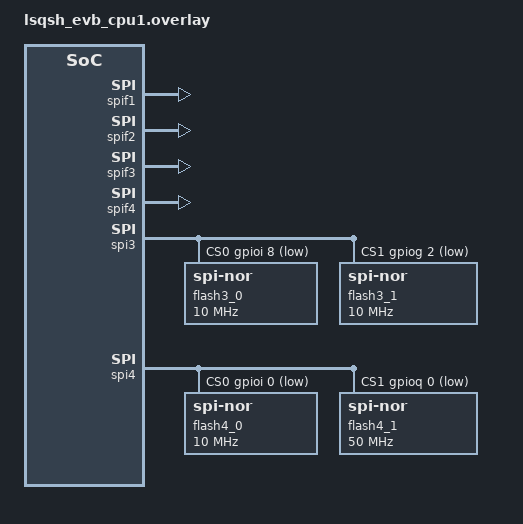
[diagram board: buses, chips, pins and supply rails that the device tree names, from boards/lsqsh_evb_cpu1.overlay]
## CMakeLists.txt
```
# SPDX-License-Identifier: Apache-2.0

cmake_minimum_required(VERSION 3.20.0)

find_package(Zephyr REQUIRED HINTS $ENV{ZEPHYR_BASE})
project(spi_filter_n_out_m_in)

FILE(GLOB app_sources src/*.c)
target_sources(app PRIVATE ${app_sources})
```

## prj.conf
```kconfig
CONFIG_SPI_FILTER_LINKEDSEMI=y
CONFIG_SPI=y
CONFIG_FLASH=y
# CONFIG_LOG_MODE_IMMEDIATE=y
CONFIG_SHELL=n
CONFIG_FLASH_SHELL=y
CONFIG_DMA=y

CONFIG_LOG=y
CONFIG_LOG_BUFFER_SIZE=65536
CONFIG_SHELL_BACKEND_SERIAL_LOG_MESSAGE_QUEUE_SIZE=40960
# CONFIG_LOG=n
# CONFIG_LOG_BUFFER_SIZE=1024
# CONFIG_SHELL_BACKEND_SERIAL_LOG_MESSAGE_QUEUE_SIZE=1024

# CONFIG_LOG_MODE_DEFERRED=n
# CONFIG_LOG_MODE_IMMEDIATE=y

CONFIG_FLASH_JESD216_API=y
CONFIG_SPI_EXTENDED_MODES=y

CONFIG_MAIN_STACK_SIZE=10240

CONFIG_IDLE_STACK_SIZE=512
CONFIG_TEST_EXTRA_STACK_SIZE=1536
CONFIG_SYSTEM_WORKQUEUE_STACK_SIZE=8192
CONFIG_ISR_STACK_SIZE=4096
CONFIG_PRIVILEGED_STACK_SIZE=4096
CONFIG_SHELL_STACK_SIZE=4096
CONFIG_LOG_PROCESS_THREAD_STACK_SIZE=4096

CONFIG_SPI_FILTER_INTERRUPT_LOG=n#dma log打开就不用开中断打开log
CONFIG_SPI_FILTER_DMA_LOG=y

CONFIG_BUILD_OUTPUT_HEX=y#hex

CONFIG_LOG_MODE_DEFERRED=n
CONFIG_LOG_MODE_IMMEDIATE=y
CONFIG_SPI_FILTER_LINKEDSEMI_SHELL=n
# CONFIG_LINKEDSEMI_ZEPHYR_UTIL_CMD_REBOOT=y
```

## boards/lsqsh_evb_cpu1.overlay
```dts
#include "lsqsh_pinctrl_pfr_tpm.dtsi"

/ {
    aliases {
#if 1
        spifilter = &spif3;
        spifiltermaster = &spif1;
        spiflash = &flash3_0;
#endif
#if 0
        spifilter = &spif2;
        spifiltermaster = &spif4;
        spiflash = &flash4_1;
#endif
    };
};

&spif1 {
    status = "okay";
};

&spif2 {
    status = "okay";
};

&spif3 {
    cmd-page-program-quad-addr-quad-data =<0xc2>;
    cmd-quad-spi-mode-enter = <0x38>;
    cmd-quad-spi-mode-exit = <0xff>;
    status = "okay";
};

&spif4 {
    cmd-page-program-quad-addr-quad-data =<0xc2>;
    cmd-quad-spi-mode-enter = <0x38>;
    cmd-quad-spi-mode-exit = <0xff>;
    status = "okay";
};

&spi3 {
    cs-gpios = <&gpioi 8 GPIO_ACTIVE_LOW>,
                <&gpiog 2 GPIO_ACTIVE_LOW>;
    pinctrl-0 = <>;
    pinctrl-names = "default";
    //timing-calibration-disabled;
    dmas =<&dmac2 6 DMA_SPI3_RX>,<&dmac2 6 DMA_SPI3_TX>;
    dma-names ="rx","tx";
    status = "okay";

    flash3_0: flash3@0 {
        compatible = "jedec,spi-nor";
        reg = <0>;
        spi-max-frequency = <DT_FREQ_M(10)>;
        spi-max-buswidth = <4>;
        re-init-support;
    };
    flash3_1: flash3@1 {
        compatible = "jedec,spi-nor";
        reg = <1>;
        spi-max-frequency = <DT_FREQ_M(10)>;
        spi-max-buswidth = <4>;
        re-init-support;
    };
};

&spi4 {
    cs-gpios = <&gpioi 0 GPIO_ACTIVE_LOW>,
                <&gpioq 0 GPIO_ACTIVE_LOW>;
    pinctrl-0 = <>;
    pinctrl-names = "default";
    timing-calibration-disabled;
    dmas =<&dmac2 6 DMA_SPI4_RX>,<&dmac2 6 DMA_SPI4_TX>;
    dma-names ="rx","tx";
    status = "okay";

    flash4_0: flash4@0 {
        compatible = "jedec,spi-nor";
        reg = <0>;
        spi-max-frequency = <DT_FREQ_M(10)>;
        spi-max-buswidth = <4>;
        re-init-support;
    };
    flash4_1: flash4@1 {
        compatible = "jedec,spi-nor";
        reg = <1>;
        spi-max-frequency = <DT_FREQ_M(50)>;
        spi-max-buswidth = <4>;
        re-init-support;
    };
};

&dmac1 {
    status = "okay";
};

&dmac2 {
    status = "okay";
};

#if 0
#undef SRAM_TOTAL_SIZE
#undef SRAM_RO_SIZE
#undef SRAM_RW_SIZE

#define SRAM_TOTAL_SIZE DT_SIZE_K(512 - 128)
#define SRAM_RO_SIZE    DT_SIZE_K(256 - 128)
#define SRAM_RW_SIZE    (SRAM_TOTAL_SIZE - SRAM_RO_SIZE)

&sram_ro {
    reg = <0x10020000 SRAM_RO_SIZE>;
};

&sram {
    reg = <(0x10020000 + SRAM_RO_SIZE) SRAM_RW_SIZE>;
};
#endif
```

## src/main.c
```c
/*
 * Copyright (c) 2024 Linkedsemi
 *
 * SPDX-License-Identifier: Apache-2.0
 */

#include "zephyr/sys/printk.h"
#include "zephyr/sys/util.h"
#include "zephyr/types.h"
#include <stdbool.h>
#include <stdint.h>
#if !defined(CONFIG_SPI_FILTER_LINKEDSEMI)
    #error no CONFIG_SPI_FILTER_LINKEDSEMI define
#endif

#include <zephyr/drivers/spi.h>
#include <zephyr/drivers/spi_nor.h>
#include <zephyr/kernel.h>
#include <stdlib.h>
#include <stdio.h>
#include <zephyr/kernel.h>
#include <zephyr/drivers/spi.h>
#include <zephyr/drivers/flash.h>
#include <reg_spi_filter.h>
#include <spi_filter.h>
#include <ls_soc_gpio.h>
#include <zephyr/logging/log.h>
#include <time.h>

// LOG_MODULE_REGISTER(spi_monitor_01_003_005, LOG_LEVEL_INF);
LOG_MODULE_REGISTER(spi_monitor_01_003_005, LOG_LEVEL_DBG);
extern int spi_nor_config_4byte_mode(const struct device *dev, bool en4b);

#if 0
#include "/home/htliu/zephyr_work/modules/lib/pfr_tpm/drivers/pfr/spi/spi_filter.h"
#else
#define SPIF_LOG_RAM_MAX_SIZE_U32     1024
#endif

#define FLASH_OFFSET MB(0)
#define FLASH_ERASE_SIZE 4096
#define FLASH_TEST_SIZE 4096

#define FLASH_OFFSET_MAIN 0x1000
#define FLASH_ERASE_SIZE_4K 0X1000
#define FLASH_ERASE_SIZE_MAIN 0x4000//16K 0X1000//4k
// #define start_addr_main  0x4000
#define START_ADDR_MAIN  0x4000
#define START_ADDR_0x40000  0x40000
// static uint8_t data_write[] = {
//     0x11,0x22,0x33,0x44,0x55,0x66,0x77,0x88,
//     0xAA,0xBB,0xCC,0xDD,0xEE,0xFF,0x00,0x99,
// };
static uint8_t data_write[16];

static uint8_t data_read[sizeof(data_write)]={0};

// static uint8_t baud_freq[8]={1,5,10,25};
#include <reg_ssi_type.h>
#include <platform.h>
reg_ssi_t *DWSPI3 = ((reg_ssi_t *)APP_DWSPI3_ADDR);
reg_ssi_t *DWSPI4 = ((reg_ssi_t *)APP_DWSPI4_ADDR);


__aligned(32) uint8_t buf_r[FLASH_TEST_SIZE];
__aligned(32) uint8_t buf_w[FLASH_TEST_SIZE];

#define TEST_START_ADDR MB(4)
#define TEST_TOTAL_SIZE MB(4)
#define TEST_STEP_SIZE KB(4)

int test(void)
{
	do {
		uint8_t id[3] = { 0 };
		const struct device *const flash_dev = DEVICE_DT_GET(DT_ALIAS(spiflash));
		// spi_nor_re_init(flash_dev);
		int rc = flash_read_jedec_id(flash_dev, id);
		if (rc == 0) {
		printk("jedec-id = [%02x %02x %02x];\n", id[0], id[1], id[2]);
		} else {
		printk("JEDEC ID read failed: %d\n", rc);
		}

		for (int i = 0; i < sizeof(buf_w); i++) {
		buf_w[i] = i & 0xff;
		}

		buf_w[0] = ((uint32_t)flash_dev >> 24) & 0xff;
		buf_w[1] = ((uint32_t)flash_dev >> 16) & 0xff;
		buf_w[2] = ((uint32_t)flash_dev >> 8) & 0xff;
		buf_w[3] = (uint32_t)flash_dev & 0xff;

		// flash_erase(flash_dev, FLASH_OFFSET, FLASH_ERASE_SIZE);
		// flash_write(flash_dev, FLASH_OFFSET, buf_w, sizeof(buf_w));

		// flash_read(flash_dev, MB(16), buf_r, sizeof(buf_r));
		uint64_t time_stamp = 0;
		uint64_t milliseconds_spent = 0;
		time_stamp = k_uptime_get();
		for (int off = 0; off < 1 * TEST_STEP_SIZE; off += TEST_STEP_SIZE) {
		flash_read(flash_dev, TEST_START_ADDR + off, buf_r, sizeof(buf_r));
		}
		milliseconds_spent += k_uptime_delta(&time_stamp);
		printk("time: %llu.%llu(s)\n", milliseconds_spent / 1000, milliseconds_spent % 1000);
		printk("time: %llu(ms)\n", milliseconds_spent);
	} while(0);

	return 0;
}

int  test_spif(void)
{
	do {
		uint8_t id[3] = { 0 };
		const struct device *const flash_dev = DEVICE_DT_GET(DT_ALIAS(spiflash));
		// spi_nor_re_init(flash_dev);
		int rc = flash_read_jedec_id(flash_dev, id);
		DELAY_MS(10);
		if (rc == 0) {

			LOG_INF("jedec-id = [%02x %02x %02x];\n", id[0], id[1], id[2]);
		} else {
		LOG_INF("JEDEC ID read failed: %d\n", rc);
		}
	} while(0);

	return 0;
}

#define SPIF_LAZY_INIT_READ_LEN 4

static int spif_lazy_init_flash_read(const struct device *flash_dev, off_t addr)
{
	uint8_t buf[SPIF_LAZY_INIT_READ_LEN];
	int rc = flash_read(flash_dev, addr, buf, sizeof(buf));

	if (rc == 0) {
		LOG_INF("flash lazy init read @ 0x%lx ok: %02x %02x %02x %02x",
			(long)addr, buf[0], buf[1], buf[2], buf[3]);
	} else {
		LOG_ERR("flash lazy init read @ 0x%lx failed: %d", (long)addr, rc);
	}

	return rc;
}

void spi_monitor_jedec_id(const struct device *const spifiltermaster,const struct device *const spifilter,uint32_t freq)
{

	// uint8_t send_freq[]={10};
	// spif_add_cmd(spifilter, 0x9f);

	static const uint8_t send_data_0[] = {
		0x9f,
	};
	uint8_t rx[4] = {0};
	// spif_dump_cmd_table(spifilter);
	// spif_dump_rw_addr_privilege_table(spifilter);

	const struct device *spi_dev = spif_spi_dev(spifiltermaster);

	// uint32_t freq =send_freq[i]*1000000;
	// uint32_t freq =freq;
	const struct spi_config spi_cfg = {
		.operation = SPI_OP_MODE_MASTER | SPI_WORD_SET(8) | SPI_TRANSFER_MSB,
		.frequency = freq,
		.cs = { .gpio = *(spif_spi_cs(spifiltermaster)), },
	};
	// LOG_INF("send_freq=%u",freq);
	int ret=0;
	struct spi_buf tx_buf_0 = {
		.buf = (uint8_t*)send_data_0,
		.len = sizeof(send_data_0),
	};

	struct spi_buf rx_buf = {
		.buf = &rx,
		.len = sizeof(rx),
	};

	const struct spi_buf_set tx_set_0 = { &tx_buf_0, 1 };
	const struct spi_buf_set rx_set = { &rx_buf, 1 };

	ret = spi_transceive(spi_dev, &spi_cfg, &tx_set_0, &rx_set);

	if (ret < 0) {
		LOG_ERR("send failed: %d",ret);
	}else {
		for (int i=0; i<sizeof(rx); i++) {
			printk("0x%02X ",rx[i]);
		}
		printk("\n");

	}

}

void spi_monitor_send_cmd(const struct device *const spifiltermaster,const struct device *const spifilter,uint32_t freq)
{

	// uint8_t send_freq[]={10};
	// spif_add_cmd(spifilter, 0x9f);

	static const uint8_t send_data_0[] = {
		0x02,
	};
	uint8_t rx[4] = {0};
	// spif_dump_cmd_table(spifilter);
	// spif_dump_rw_addr_privilege_table(spifilter);

	const struct device *spi_dev = spif_spi_dev(spifiltermaster);

	// uint32_t freq =send_freq[i]*1000000;
	// uint32_t freq =freq;
	const struct spi_config spi_cfg = {
		.operation = SPI_OP_MODE_MASTER | SPI_WORD_SET(8) | SPI_TRANSFER_MSB,
		.frequency = freq,
		.cs = { .gpio = *(spif_spi_cs(spifiltermaster)), },
	};
	// LOG_INF("send_freq=%u",freq);
	int ret=0;
	struct spi_buf tx_buf_0 = {
		.buf = (uint8_t*)send_data_0,
		.len = sizeof(send_data_0),
	};

	struct spi_buf rx_buf = {
		.buf = &rx,
		.len = sizeof(rx),
	};

	const struct spi_buf_set tx_set_0 = { &tx_buf_0, 1 };
	const struct spi_buf_set rx_set = { &rx_buf, 1 };

	ret = spi_transceive(spi_dev, &spi_cfg, &tx_set_0, &rx_set);

	if (ret < 0) {
		LOG_ERR("send failed: %d",ret);
	}else {
		for (int i=0; i<sizeof(rx); i++) {
			printk("0x%02X ",rx[i]);
		}
		printk("\n");

	}

}

void spi_monitor_send_read_addr(const struct device *const spifiltermaster,const struct device *const spifilter,uint32_t freq)
{

	// uint8_t send_freq[]={10};
	// spif_add_cmd(spifilter, 0x9f);

	static const uint8_t send_data_0[] = {
		0x03,0x00,0x40,0x00
	};
	uint8_t rx[8] = {0};
	// spif_dump_cmd_table(spifilter);
	// spif_dump_rw_addr_privilege_table(spifilter);

	const struct device *spi_dev = spif_spi_dev(spifiltermaster);

	// uint32_t freq =send_freq[i]*1000000;
	// uint32_t freq =freq;
	const struct spi_config spi_cfg = {
		.operation = SPI_OP_MODE_MASTER | SPI_WORD_SET(8) | SPI_TRANSFER_MSB,
		.frequency = freq,
		.cs = { .gpio = *(spif_spi_cs(spifiltermaster)), },
	};
	LOG_INF("send_freq=%u",freq);
	int ret=0;
	struct spi_buf tx_buf_0 = {
		.buf = (uint8_t*)send_data_0,
		.len = sizeof(send_data_0),
	};

	struct spi_buf rx_buf = {
		.buf = &rx,
		.len = sizeof(rx),
	};

	const struct spi_buf_set tx_set_0 = { &tx_buf_0, 1 };
	const struct spi_buf_set rx_set = { &rx_buf, 1 };

	ret = spi_transceive(spi_dev, &spi_cfg, &tx_set_0, &rx_set);

	if (ret < 0) {
		LOG_ERR("send failed: %d",ret);
	}else {
		for (int i=0; i<sizeof(rx); i++) {
			printk("0x%02X ",rx[i]);
		}
		printk("\n");

	}

}

void spi_monitor_send_read_addr_allow(const struct device *const spifiltermaster,const struct device *const spifilter,uint32_t freq)
{
	static const uint8_t send_data_0[] = {
		0x03,0x00,0x00,0x00
	};
	uint8_t rx[8] = {0};

	const struct device *spi_dev = spif_spi_dev(spifiltermaster);

	const struct spi_config spi_cfg = {
		.operation = SPI_OP_MODE_MASTER | SPI_WORD_SET(8) | SPI_TRANSFER_MSB,
		.frequency = freq,
		.cs = { .gpio = *(spif_spi_cs(spifiltermaster)), },
	};
	LOG_INF("send_freq=%u",freq);
	int ret=0;
	struct spi_buf tx_buf_0 = {
		.buf = (uint8_t*)send_data_0,
		.len = sizeof(send_data_0),
	};

	struct spi_buf rx_buf = {
		.buf = &rx,
		.len = sizeof(rx),
	};

	const struct spi_buf_set tx_set_0 = { &tx_buf_0, 1 };
	const struct spi_buf_set rx_set = { &rx_buf, 1 };

	ret = spi_transceive(spi_dev, &spi_cfg, &tx_set_0, &rx_set);

	if (ret < 0) {
		LOG_ERR("send failed: %d",ret);
	}else {
		for (int i=0; i<sizeof(rx); i++) {
			printk("0x%02X ",rx[i]);
		}
		printk("\n");

	}

}
static void spif_dma_callback(void *callback_arg)
{
    const struct device *dev = (const struct device *)callback_arg;
    LOG_INF("DMA callback triggered for device: %s", dev->name);
}
#include <string.h>
#include <zephyr/shell/shell.h>
#include <zephyr/sys/reboot.h>

void configure_cmd_whitelist(const struct device *spifilter, const uint8_t *legal_cmds, size_t cmd_count)
{
	LOG_INF("cmd_count%02x ", cmd_count);
	for (size_t i = 0; i < cmd_count; i++) {
		// LOG_INF("i%02x ", i);
		spif_add_cmd(spifilter, legal_cmds[i]);
		LOG_INF("Added command 0x%02x to whitelist", legal_cmds[i]);
	}
}

void configure_address_protection(const struct device *spifilter,uint32_t start_addr,uint32_t protect_size)
{
	spif_address_privilege_config(spifilter, FLAG_ADDR_PRIV_READ_SELECT, FLAG_ADDR_PRIV_DISABLE, start_addr, protect_size);
	spif_address_privilege_config(spifilter, FLAG_ADDR_PRIV_WRITE_SELECT, FLAG_ADDR_PRIV_DISABLE, start_addr, protect_size);
}
void init_white_cmd(const struct device *const spifiltermaster,const struct device *const spifilter,const struct device *const flash_dev)
{
	static const uint8_t write_read_cmd[] = {
		0xff,0x66,0x99,0xe9,0x04,0x05,
		0x9f,0x5a,0xb7,0x35,0x06
	};
	configure_cmd_whitelist(spifilter, write_read_cmd, ARRAY_SIZE(write_read_cmd));
}
void master_visit_flash_include_addr(const struct device *flash_dev,uint32_t addr,uint32_t erase_size)
{
		int rc=0;
		// REG_FIELD_WR(DWSPI3->RXSAMPLE_DLY, SSI_RSD, 3);
		rc = flash_erase(flash_dev, addr, erase_size);
		LOG_INF("flash_erase rc = %d", rc);

		LOG_INF("Master write test @ 0x%08X", addr);
		int ret = flash_write(flash_dev, addr, data_write, sizeof(data_write));
		LOG_INF("flash_write ret = %d", ret);

		memset(data_read, 0, sizeof(data_read));
		int re=flash_read(flash_dev, addr, data_read, sizeof(data_read));
		LOG_INF("flash_read ret = %d", re);
		rc = memcmp(data_read, data_write, sizeof(data_read));

		if (rc == 0) {
			LOG_INF("OK");
		} else {
			LOG_INF("fail: rc %d", rc);
			LOG_INF("ref");
			for (int i = 0; i < sizeof(data_write); i++) {
				printk("%02X ", data_write[i]);//expect
			}
			printk("\n");
			LOG_INF("real");
			for (int i = 0; i < sizeof(data_read); i++) {
				printk("%02X ", data_read[i]);// act
			}
			printk("\n");
		}

}


int main(void)
{
	bool check;
	int ret;
	/*主机*/
	const struct device *const spifiltermaster = DEVICE_DT_GET(DT_ALIAS(spifiltermaster));
	spif_switch_to_master(spifiltermaster);
	check = spif_pinctrl_master_mode_check(spifiltermaster);
	__ASSERT_NO_MSG(check);

	
	const struct device *const spifilter = DEVICE_DT_GET(DT_ALIAS(spifilter));

	/* 切到 master 后直接访问 flash（master 模式下 state 参数被忽略） */
	ret = spif_switch_to_mode(spifilter, spif_master, spif_pinctrl_master);
	__ASSERT_NO_MSG(ret == 0);
	check = (spif_pinctrl_state_get(spifilter) == spif_pinctrl_master);
	__ASSERT_NO_MSG(check);
	uint32_t freq1 = DT_PROP(DT_ALIAS(spiflash), spi_max_frequency);
	spi_monitor_jedec_id(spifilter,spifilter,freq1);

	linkedsemi_spi_filter_cold_reset(spifilter);
	// spif_memset_addr_whitelist(spifilter, 1);
	spif_flash_size_set(spifilter, MB(32));
	// spif_dump_cmd_table(spifilter);
	// spif_dump_rw_addr_privilege_table(spifilter);

#if defined(CONFIG_SPI_FILTER_DMA_LOG)
	linkedsemi_spif_register_callback(spifilter, (void*)spif_dma_callback);
	spif_dma_start(spifilter);
#endif

	/*
	 * 被测 filter 的工作模式与 out 侧配置（按需修改）：
	 *   mode ：spif_monitor / spif_filter
	 *   state：spif_single_passthrough / spif_multi_passthrough / spif_no_passthrough
	 * filter + no_passthrough 是非法组合，接口返回 -EINVAL。
	 */
	const spif_mode_t test_mode = spif_monitor;
	const spif_pinctrl_state_t test_state = spif_single_passthrough;

	ret = spif_switch_to_mode(spifilter, test_mode, test_state);
	__ASSERT_NO_MSG(ret == 0);

	check = (spif_pinctrl_state_get(spifilter) == test_state);
	__ASSERT_NO_MSG(check);

	/* 非法组合示例（需要时放开）：
	 * ret = spif_switch_to_mode(spifilter, spif_filter, spif_no_passthrough);
	 * __ASSERT_NO_MSG(ret == -EINVAL);
	 */
	// ret = spif_switch_to_mode(spifilter, spif_filter, spif_no_passthrough);
	// __ASSERT_NO_MSG(ret == -EINVAL);

	// ret = spif_switch_to_mode(spifilter, spif_filter, spif_no_passthrough);
	// __ASSERT_NO_MSG(ret == -EINVAL);
	spif_add_cmd(spifilter, 0x03);
	
	configure_address_protection(spifilter,0x4000,FLASH_ERASE_SIZE_MAIN);
	
	const struct device *const flash_dev = DEVICE_DT_GET(DT_ALIAS(spiflash));

	const struct device *spi_dev = spif_spi_dev(spifiltermaster);
	uint32_t freq = DT_PROP(DT_ALIAS(spiflash), spi_max_frequency);

	uintptr_t base_address = DT_REG_ADDR(DT_ALIAS(spifilter));
	LOG_INF("SPIFilter base address: 0x%08lx", base_address);


	spif_dump_cmd_table(spifilter);
	spif_dump_rw_addr_privilege_table(spifilter);
	spi_monitor_send_read_addr_allow(spifiltermaster,spifilter,freq);
	spi_monitor_jedec_id(spifiltermaster,spifilter,freq);
	spi_monitor_send_read_addr(spifiltermaster,spifilter,freq);
	test_spif();

	/* 切到 master 后直接访问 flash（master 模式下 state 参数被忽略） */
	ret = spif_switch_to_mode(spifilter, spif_master, spif_pinctrl_master);
	__ASSERT_NO_MSG(ret == 0);
	check = (spif_pinctrl_state_get(spifilter) == spif_pinctrl_master);
	__ASSERT_NO_MSG(check);

	spi_monitor_jedec_id(spifilter,spifilter,freq);

	return 0;
}
```
